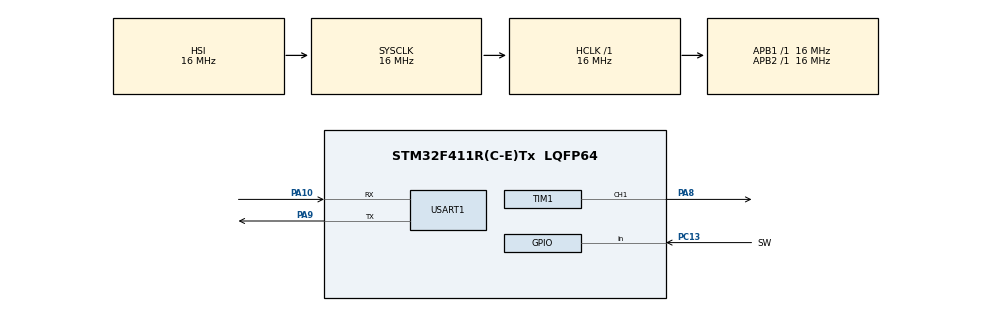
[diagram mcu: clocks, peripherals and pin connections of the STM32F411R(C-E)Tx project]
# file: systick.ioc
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Mcu.Family=STM32F4
Mcu.Name=STM32F411R(C-E)Tx
Mcu.Package=LQFP64
NVIC.PriorityGroup=NVIC_PRIORITYGROUP_4
PA10.Mode=Asynchronous
PA10.Signal=USART1_RX
PA8.Signal=S_TIM1_CH1
PA9.Mode=Asynchronous
PA9.Signal=USART1_TX
PC13-ANTI_TAMP.GPIO_Label=SW
PC13-ANTI_TAMP.GPIO_PuPd=GPIO_PULLUP
PC13-ANTI_TAMP.Signal=GPIO_Input
ProjectManager.HeapSize=0x200
ProjectManager.StackSize=0x400
ProjectManager.TargetToolchain=STM32CubeIDE
RCC.AHBFreq_Value=16000000
RCC.APB1Freq_Value=16000000
RCC.APB2Freq_Value=16000000
RCC.CortexFreq_Value=16000000
RCC.HSE_VALUE=25000000
RCC.HSI_VALUE=16000000
RCC.LSE_VALUE=32768
RCC.SYSCLKFreq_VALUE=16000000
RCC.VCOOutputFreq_Value=192000000
SH.S_TIM1_CH1.0=TIM1_CH1,PWM Generation1 CH1
TIM1.Channel-PWM\ Generation1\ CH1=TIM_CHANNEL_1
TIM1.Period=999
TIM1.Prescaler=15
TIM1.Pulse-PWM\ Generation1\ CH1=499
USART1.VirtualMode=VM_ASYNC
VP_TIM1_VS_ClockSourceINT.Mode=Internal
board=custom

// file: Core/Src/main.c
/* USER CODE BEGIN Header */
/**
  ******************************************************************************
  * @file           : main.c
  * @brief          : Main program body
  ******************************************************************************
  * @attention
  *
  * Copyright (c) 2023 STMicroelectronics.
  * All rights reserved.
  *
  * This software is licensed under terms that can be found in the LICENSE file
  * in the root directory of this software component.
  * If no LICENSE file comes with this software, it is provided AS-IS.
  *
  ******************************************************************************
  */
/* USER CODE END Header */
#include "main.h"

/* USER CODE BEGIN Includes */
#include "uart.h"
/* USER CODE END Includes */

TIM_HandleTypeDef htim1;

UART_HandleTypeDef huart1;

void SystemClock_Config(void);
static void MX_GPIO_Init(void);
static void MX_TIM1_Init(void);
static void MX_USART1_UART_Init(void);

/* USER CODE BEGIN 0 */
int taskA; // 동작 주기용 변수
int taskB;
uint32_t bufferSwitch;
uint8_t stateSwitch;
void callbackSystick() // 1ms 마다 자동호출 하는함수
{
	bufferSwitch = bufferSwitch << 1;
	bufferSwitch   += HAL_GPIO_ReadPin(SW_GPIO_Port, SW_Pin);
	if(bufferSwitch == 0)
		{
			stateSwitch =0;
		}
	if(bufferSwitch == 0xfffffff)
		{
			stateSwitch =1;
		}
	if(taskA > 0) taskA--;
	if(taskB > 0) taskB--;

}
void enableBuzzer(){
	HAL_TIM_PWM_Start(&htim1, TIM_CHANNEL_1);
}
void disabeBuzzer(){
	HAL_TIM_PWM_Stop(&htim1, TIM_CHANNEL_1);
}
/* USER CODE END 0 */

int main(void)
{

  /* MCU Configuration--------------------------------------------------------*/

  /* Reset of all peripherals, Initializes the Flash interface and the Systick. */
  HAL_Init();

  /* Configure the system clock */
  SystemClock_Config();

  /* Initialize all configured peripherals */
  MX_GPIO_Init();
  MX_TIM1_Init();
  MX_USART1_UART_Init();
  /* USER CODE BEGIN 2 */
  int count=0;

  /* USER CODE END 2 */

  /* Infinite loop */
  while (1)
  {

    /* USER CODE BEGIN 3 */
  		static int oldSwitch, curSwitch;
  		curSwitch = stateSwitch;

  		if(oldSwitch != curSwitch)
  			{
  				if(curSwitch == 0 )
  					{
  						count++;
							printf("count = %d\n",count);
  					}
  			}
  		else
  			{

  			}
  		oldSwitch = curSwitch;

  		// task A
  		if(taskA==0) //1300 ms 주기
  			{
  				taskA=1300;
  				if(count>0)
  					{
  						count--;
  						printf("count = %d\n",count);
  					}
  			}
  		if(taskB==0) // 100ms 주기
  			{
  				taskB = 500;
  				static _Bool flagStateBuzzer;
  				flagStateBuzzer ^= 1; // 익스클루시브 or 게이트
  				flagStateBuzzer == 0? enableBuzzer():disabeBuzzer();  // 조건:참:거짓

  			}

  }
  /* USER CODE END 3 */
}

void SystemClock_Config(void)
{
  RCC_OscInitTypeDef RCC_OscInitStruct = {0};
  RCC_ClkInitTypeDef RCC_ClkInitStruct = {0};

  /** Configure the main internal regulator output voltage
  */
  __HAL_RCC_PWR_CLK_ENABLE();
  __HAL_PWR_VOLTAGESCALING_CONFIG(PWR_REGULATOR_VOLTAGE_SCALE1);

  /** Initializes the RCC Oscillators according to the specified parameters
  * in the RCC_OscInitTypeDef structure.
  */
  RCC_OscInitStruct.OscillatorType = RCC_OSCILLATORTYPE_HSI;
  RCC_OscInitStruct.HSIState = RCC_HSI_ON;
  RCC_OscInitStruct.HSICalibrationValue = RCC_HSICALIBRATION_DEFAULT;
  RCC_OscInitStruct.PLL.PLLState = RCC_PLL_NONE;
  if (HAL_RCC_OscConfig(&RCC_OscInitStruct) != HAL_OK)
  {
    Error_Handler();
  }

  /** Initializes the CPU, AHB and APB buses clocks
  */
  RCC_ClkInitStruct.ClockType = RCC_CLOCKTYPE_HCLK|RCC_CLOCKTYPE_SYSCLK
                              |RCC_CLOCKTYPE_PCLK1|RCC_CLOCKTYPE_PCLK2;
  RCC_ClkInitStruct.SYSCLKSource = RCC_SYSCLKSOURCE_HSI;
  RCC_ClkInitStruct.AHBCLKDivider = RCC_SYSCLK_DIV1;
  RCC_ClkInitStruct.APB1CLKDivider = RCC_HCLK_DIV1;
  RCC_ClkInitStruct.APB2CLKDivider = RCC_HCLK_DIV1;

  if (HAL_RCC_ClockConfig(&RCC_ClkInitStruct, FLASH_LATENCY_0) != HAL_OK)
  {
    Error_Handler();
  }
}

static void MX_TIM1_Init(void)
{

  TIM_ClockConfigTypeDef sClockSourceConfig = {0};
  TIM_MasterConfigTypeDef sMasterConfig = {0};
  TIM_OC_InitTypeDef sConfigOC = {0};
  TIM_BreakDeadTimeConfigTypeDef sBreakDeadTimeConfig = {0};

  htim1.Instance = TIM1;
  htim1.Init.Prescaler = 15;
  htim1.Init.CounterMode = TIM_COUNTERMODE_UP;
  htim1.Init.Period = 999;
  htim1.Init.ClockDivision = TIM_CLOCKDIVISION_DIV1;
  htim1.Init.RepetitionCounter = 0;
  htim1.Init.AutoReloadPreload = TIM_AUTORELOAD_PRELOAD_DISABLE;
  if (HAL_TIM_Base_Init(&htim1) != HAL_OK)
  {
    Error_Handler();
  }
  sClockSourceConfig.ClockSource = TIM_CLOCKSOURCE_INTERNAL;
  if (HAL_TIM_ConfigClockSource(&htim1, &sClockSourceConfig) != HAL_OK)
  {
    Error_Handler();
  }
  if (HAL_TIM_PWM_Init(&htim1) != HAL_OK)
  {
    Error_Handler();
  }
  sMasterConfig.MasterOutputTrigger = TIM_TRGO_RESET;
  sMasterConfig.MasterSlaveMode = TIM_MASTERSLAVEMODE_DISABLE;
  if (HAL_TIMEx_MasterConfigSynchronization(&htim1, &sMasterConfig) != HAL_OK)
  {
    Error_Handler();
  }
  sConfigOC.OCMode = TIM_OCMODE_PWM1;
  sConfigOC.Pulse = 499;
  sConfigOC.OCPolarity = TIM_OCPOLARITY_HIGH;
  sConfigOC.OCNPolarity = TIM_OCNPOLARITY_HIGH;
  sConfigOC.OCFastMode = TIM_OCFAST_DISABLE;
  sConfigOC.OCIdleState = TIM_OCIDLESTATE_RESET;
  sConfigOC.OCNIdleState = TIM_OCNIDLESTATE_RESET;
  if (HAL_TIM_PWM_ConfigChannel(&htim1, &sConfigOC, TIM_CHANNEL_1) != HAL_OK)
  {
    Error_Handler();
  }
  sBreakDeadTimeConfig.OffStateRunMode = TIM_OSSR_DISABLE;
  sBreakDeadTimeConfig.OffStateIDLEMode = TIM_OSSI_DISABLE;
  sBreakDeadTimeConfig.LockLevel = TIM_LOCKLEVEL_OFF;
  sBreakDeadTimeConfig.DeadTime = 0;
  sBreakDeadTimeConfig.BreakState = TIM_BREAK_DISABLE;
  sBreakDeadTimeConfig.BreakPolarity = TIM_BREAKPOLARITY_HIGH;
  sBreakDeadTimeConfig.AutomaticOutput = TIM_AUTOMATICOUTPUT_DISABLE;
  if (HAL_TIMEx_ConfigBreakDeadTime(&htim1, &sBreakDeadTimeConfig) != HAL_OK)
  {
    Error_Handler();
  }
  HAL_TIM_MspPostInit(&htim1);

}

static void MX_USART1_UART_Init(void)
{

  huart1.Instance = USART1;
  huart1.Init.BaudRate = 115200;
  huart1.Init.WordLength = UART_WORDLENGTH_8B;
  huart1.Init.StopBits = UART_STOPBITS_1;
  huart1.Init.Parity = UART_PARITY_NONE;
  huart1.Init.Mode = UART_MODE_TX_RX;
  huart1.Init.HwFlowCtl = UART_HWCONTROL_NONE;
  huart1.Init.OverSampling = UART_OVERSAMPLING_16;
  if (HAL_UART_Init(&huart1) != HAL_OK)
  {
    Error_Handler();
  }

}

static void MX_GPIO_Init(void)
{
  GPIO_InitTypeDef GPIO_InitStruct = {0};

  /* GPIO Ports Clock Enable */
  __HAL_RCC_GPIOC_CLK_ENABLE();
  __HAL_RCC_GPIOA_CLK_ENABLE();

  /*Configure GPIO pin : SW_Pin */
  GPIO_InitStruct.Pin = SW_Pin;
  GPIO_InitStruct.Mode = GPIO_MODE_INPUT;
  GPIO_InitStruct.Pull = GPIO_PULLUP;
  HAL_GPIO_Init(SW_GPIO_Port, &GPIO_InitStruct);

}

void Error_Handler(void)
{
  __disable_irq();
  while (1)
  {
  }
}
